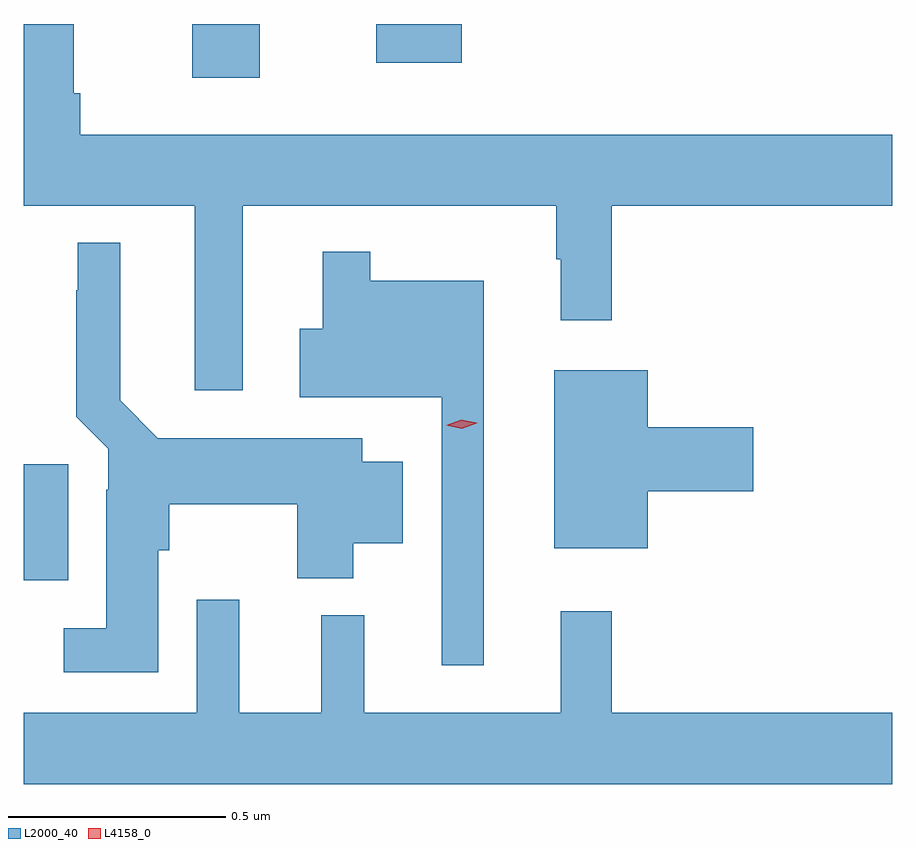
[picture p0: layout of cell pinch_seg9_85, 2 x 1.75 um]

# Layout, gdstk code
import gdstk
lib = gdstk.Library(unit=1e-6, precision=1e-09)
def R(c, l, rs):  # rectangles x0, y0, x1, y1
    for r in rs: c.add(gdstk.rectangle(r[:2], r[2:], *l))
def P(c, l, *ps):  # polygons
    for p in ps: c.add(gdstk.Polygon(p, *l))
L2000_40 = (2000, 40)
L4158_0 = (4158, 0)

pinch_seg9_85 = lib.new_cell('pinch_seg9_85')
R(pinch_seg9_85, L2000_40, [(1022.305,1176.909,1022.407,1177.177), (1022.693,1178.067,1022.848,1178.191), (1023.117,1178.102,1023.314,1178.191)])
P(pinch_seg9_85, L2000_40, [(1022.809,1177.772),(1023.531,1177.772),(1023.531,1177.649),(1023.542,1177.649),(1023.542,1177.509),(1023.659,1177.509),(1023.659,1177.772),(1024.305,1177.772),(1024.305,1177.936),(1022.435,1177.936),(1022.435,1178.032),(1022.42,1178.032),(1022.42,1178.191),(1022.305,1178.191),(1022.305,1177.772),(1022.699,1177.772),(1022.699,1177.347),(1022.809,1177.347)],
  [(1022.614,1176.978),(1022.64,1176.978),(1022.64,1177.085),(1022.935,1177.085),(1022.935,1176.914),(1023.064,1176.914),(1023.064,1176.995),(1023.178,1176.995),(1023.178,1177.183),(1023.084,1177.183),(1023.084,1177.237),(1022.613,1177.237),(1022.527,1177.324),(1022.527,1177.687),(1022.429,1177.687),(1022.429,1177.577),(1022.425,1177.577),(1022.425,1177.286),(1022.499,1177.212),(1022.499,1177.118),(1022.495,1177.118),(1022.495,1176.799),(1022.397,1176.799),(1022.397,1176.698),(1022.614,1176.698)],
  [(1023.364,1177.6),(1023.103,1177.6),(1023.103,1177.666),(1022.993,1177.666),(1022.993,1177.489),(1022.94,1177.489),(1022.94,1177.331),(1023.267,1177.331),(1023.267,1176.714),(1023.364,1176.714)],
  [(1023.742,1177.115),(1023.985,1177.115),(1023.985,1177.262),(1023.742,1177.262),(1023.742,1177.393),(1023.527,1177.393),(1023.527,1176.983),(1023.742,1176.983)],
  [(1024.305,1176.604),(1023.659,1176.604),(1023.659,1176.838),(1023.542,1176.838),(1023.542,1176.604),(1023.089,1176.604),(1023.089,1176.829),(1022.99,1176.829),(1022.99,1176.604),(1022.801,1176.604),(1022.801,1176.865),(1022.703,1176.865),(1022.703,1176.604),(1022.305,1176.604),(1022.305,1176.44),(1024.305,1176.44)])
P(pinch_seg9_85, L4158_0, [(1023.314,1177.259),(1023.278,1177.267),(1023.277,1177.267),(1023.278,1177.267),(1023.312,1177.279),(1023.348,1177.272),(1023.348,1177.271),(1023.348,1177.271)])

lib.write_gds('pinch_seg9_85.gds')
